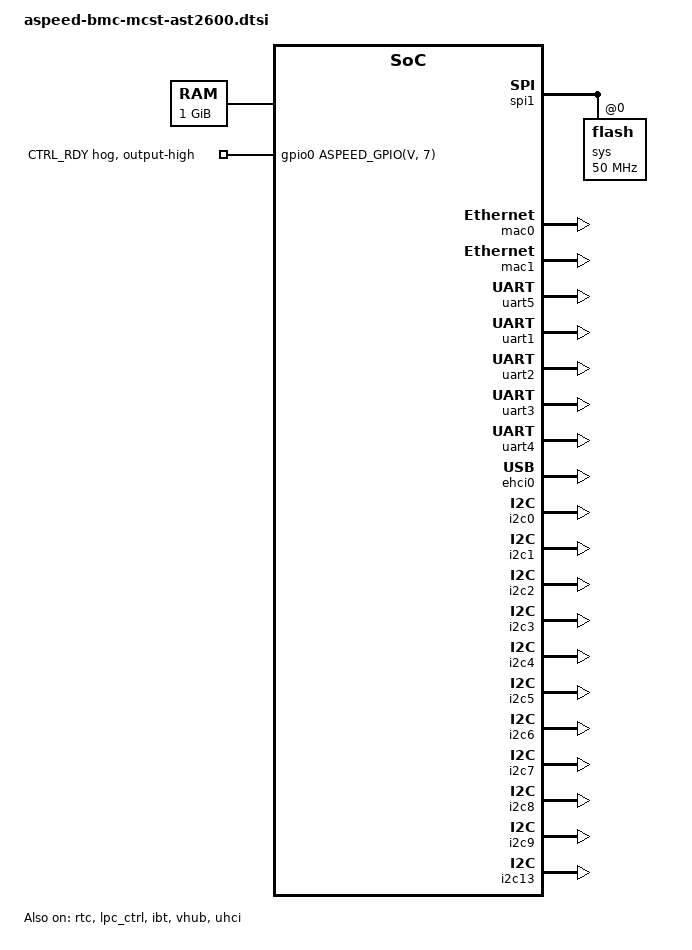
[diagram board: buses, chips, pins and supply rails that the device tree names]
// SPDX-License-Identifier: GPL-2.0+

#include "aspeed-g6.dtsi"
#include <dt-bindings/gpio/aspeed-gpio.h>

/ {
	memory@80000000 {
		device_type = "memory";
		reg = <0x80000000 0x40000000>;
	};

	reserved-memory {
		#address-cells = <1>;
		#size-cells = <1>;
		ranges;

		flash_memory: region@b8000000 {
			no-map;
			reg = <0xb8000000 0x4000000>; /* 64M */
		};
		ramoops@bc000000 {
			compatible = "ramoops";
			reg = <0xbc000000 0x180000>; /* 16 * (3 * 0x8000) */
			record-size = <0x8000>;
			console-size = <0x8000>;
			pmsg-size = <0x8000>;
			max-reason = <3>; /* KMSG_DUMP_EMERG */
		};
		vga_memory: region@bf000000 {
			no-map;
			compatible = "shared-dma-pool";
			reg = <0xbf000000 0x01000000>;	/* 16M */
		};
	};
};

&rtc {
	status = "okay";
};

&gpio0 {
	gpioready {
		gpios = <ASPEED_GPIO(V, 7) GPIO_ACTIVE_HIGH>;
		gpio-hog;
		output-high;
		line-name = "CTRL_RDY";
	};
};

&spi1 {
	status = "okay";
	pinctrl-names = "default";
	pinctrl-0 = <&pinctrl_spi1_default>;
	flash@0 {
		status = "okay";
		label = "sys";
		m25p,fast-read;
		spi-max-frequency = <50000000>;
	};
};

&mac0 {
	status = "okay";
};

&mac1 {
	status = "okay";
};

&uart5 {
	status = "okay";
};

&lpc_ctrl {
	status = "okay";
	memory-region = <&flash_memory>;
	flash = <&spi1>;
};

&ibt {
	status = "okay";
};

&uart1 {
	status = "okay";
	pinctrl-names = "default";
	pinctrl-0 = <&pinctrl_txd1_default &pinctrl_rxd1_default>;
};

&uart2 {
	status = "okay";
	pinctrl-names = "default";
	pinctrl-0 = <&pinctrl_txd2_default &pinctrl_rxd2_default>;
};

&uart3 {
	status = "okay";
	pinctrl-names = "default";
	pinctrl-0 = <&pinctrl_txd3_default &pinctrl_rxd3_default>;
};

&uart4 {
	status = "okay";
	pinctrl-names = "default";
	pinctrl-0 = <&pinctrl_txd4_default &pinctrl_rxd4_default>;
};

&vhub {
	status = "okay";
};

&uhci {
	status = "okay";
};

&ehci0 {
	status = "okay";
};

&i2c0 {
	status = "okay";
};

&i2c1 {
	status = "okay";
};

&i2c2 {
	status = "okay";
};

&i2c3 {
	status = "okay";
};

&i2c4 {
	status = "okay";
};

&i2c5 {
	status = "okay";
};

&i2c6 {
	status = "okay";
};

&i2c7 {
	status = "okay";
};

&i2c8 {
	status = "okay";
};

&i2c9 {
	status = "okay";
};

&i2c13 {
	status = "okay";
};
